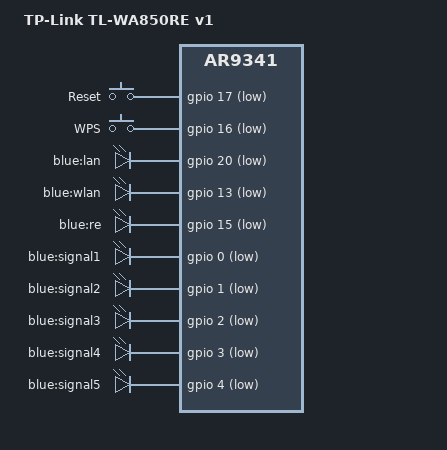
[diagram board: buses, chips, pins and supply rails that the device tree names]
// SPDX-License-Identifier: GPL-2.0-or-later OR MIT

#include "ar9341_tplink_tl-wa.dtsi"

/ {
	model = "TP-Link TL-WA850RE v1";
	compatible = "tplink,tl-wa850re-v1", "qca,ar9341";

	aliases {
		led-boot = &led_re;
		led-failsafe = &led_re;
		led-running = &led_re;
		led-upgrade = &led_re;
	};

	keys {
		compatible = "gpio-keys";

		reset {
			label = "Reset";
			linux,code = <KEY_RESTART>;
			gpios = <&gpio 17 GPIO_ACTIVE_LOW>;
			debounce-interval = <60>;
		};

		wps {
			label = "WPS";
			linux,code = <KEY_WPS_BUTTON>;
			gpios = <&gpio 16 GPIO_ACTIVE_LOW>;
			debounce-interval = <60>;
		};
	};

	leds {
		compatible = "gpio-leds";

		lan {
			label = "blue:lan";
			gpios = <&gpio 20 GPIO_ACTIVE_LOW>;
		};

		wlan {
			label = "blue:wlan";
			gpios = <&gpio 13 GPIO_ACTIVE_LOW>;
			linux,default-trigger = "phy0tpt";
		};

		led_re: re {
			label = "blue:re";
			gpios = <&gpio 15 GPIO_ACTIVE_LOW>;
		};

		signal1 {
			label = "blue:signal1";
			gpios = <&gpio 0 GPIO_ACTIVE_LOW>;
		};

		signal2 {
			label = "blue:signal2";
			gpios = <&gpio 1 GPIO_ACTIVE_LOW>;
		};

		signal3 {
			label = "blue:signal3";
			gpios = <&gpio 2 GPIO_ACTIVE_LOW>;
		};

		signal4 {
			label = "blue:signal4";
			gpios = <&gpio 3 GPIO_ACTIVE_LOW>;
		};

		signal5 {
			label = "blue:signal5";
			gpios = <&gpio 4 GPIO_ACTIVE_LOW>;
		};
	};
};
